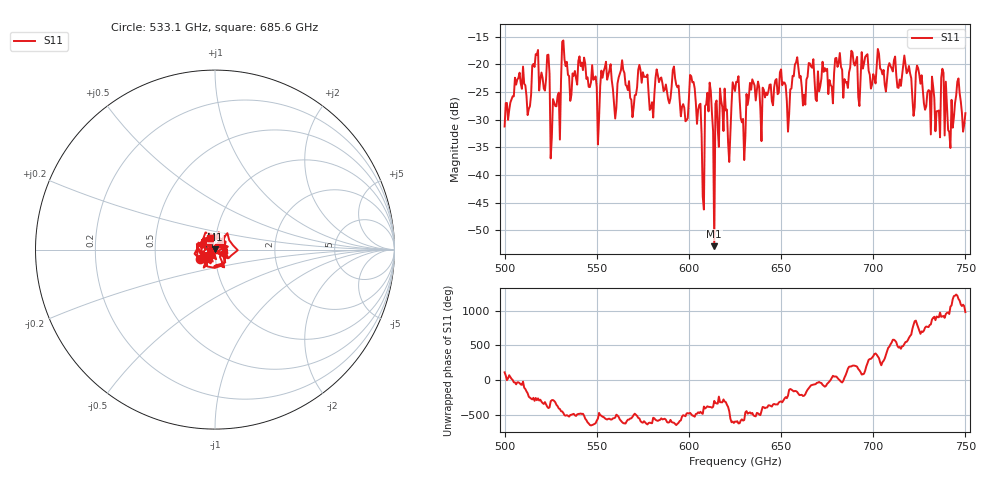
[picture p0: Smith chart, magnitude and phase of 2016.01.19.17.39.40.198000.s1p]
!Created with skrf (http://scikit-rf.org).
# GHz S RI R 50.0
!freq ReS11 ImS11
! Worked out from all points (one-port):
!   401 points, 500 GHz to 750 GHz, reference 50 ohm
!   lowest |S11| = -52.9 dB at 613.8 GHz (marker M1), VSWR 1.00, Z = 50.1 + j0.204 ohm
!   |S11| at or under -10 dB: start of sweep to end of sweep
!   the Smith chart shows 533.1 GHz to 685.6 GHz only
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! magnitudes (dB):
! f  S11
! 500 GHz  -31.2
! 506.9 GHz  -22.7
! 513.1 GHz  -28.1
! 516.9 GHz  -18.1
! 523.1 GHz  -18.3
! 526.2 GHz  -26.3
! 531.2 GHz  -15.9
! 541.9 GHz  -19.7
! 550.6 GHz  -34.5
! 562.5 GHz  -21.7
! 569.4 GHz  -29.5
! 573.8 GHz  -21.1
! 579.4 GHz  -27.9
! 593.8 GHz  -24.1
! 598.1 GHz  -30.3
! 601.9 GHz  -23.2
! 606.9 GHz  -32.7
! 610.6 GHz  -28.5
! 613.8 GHz  -52.9
! 618.1 GHz  -27.8
! 621.9 GHz  -37.6
! 625 GHz  -24.8
! 629.4 GHz  -29.9
! 634.4 GHz  -22.7
! 656.2 GHz  -22.1
! 687.5 GHz  -20.5
! 718.8 GHz  -21.2
! 750 GHz  -28.8
